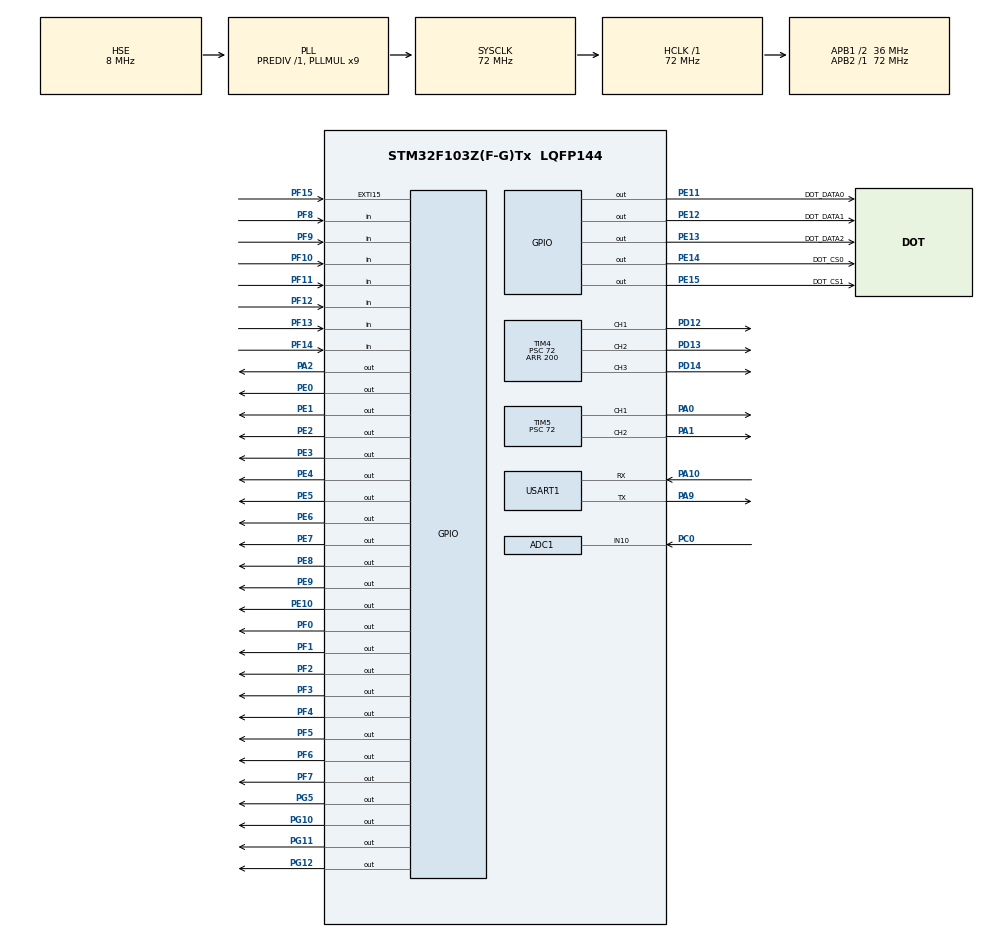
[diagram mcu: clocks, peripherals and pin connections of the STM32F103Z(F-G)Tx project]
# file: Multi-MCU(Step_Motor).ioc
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ADC1.Channel-0\#ChannelRegularConversion=ADC_CHANNEL_10
ADC1.NbrOfConversionFlag=1
ADC1.Rank-0\#ChannelRegularConversion=1
ADC1.SamplingTime-0\#ChannelRegularConversion=ADC_SAMPLETIME_1CYCLE_5
ADC1.master=1
Mcu.Family=STM32F1
Mcu.Name=STM32F103Z(F-G)Tx
Mcu.Package=LQFP144
NVIC.EXTI15_10_IRQn=true\:0\:0\:false\:false\:true\:true\:true
NVIC.PriorityGroup=NVIC_PRIORITYGROUP_4
NVIC.TIM3_IRQn=true\:0\:0\:false\:false\:true\:true\:true
NVIC.USART1_IRQn=true\:0\:0\:false\:false\:true\:true\:true
OSC_IN.Mode=HSE-External-Oscillator
OSC_IN.Signal=RCC_OSC_IN
OSC_OUT.Mode=HSE-External-Oscillator
OSC_OUT.Signal=RCC_OSC_OUT
PA0-WKUP.Signal=S_TIM5_CH1
PA1.Signal=S_TIM5_CH2
PA10.Mode=Asynchronous
PA10.Signal=USART1_RX
PA13.Mode=Serial_Wire
PA13.Signal=SYS_JTMS-SWDIO
PA14.Mode=Serial_Wire
PA14.Signal=SYS_JTCK-SWCLK
PA2.Signal=GPIO_Output
PA9.Mode=Asynchronous
PA9.Signal=USART1_TX
PC0.Signal=ADCx_IN10
PD12.Signal=S_TIM4_CH1
PD13.Signal=S_TIM4_CH2
PD14.Signal=S_TIM4_CH3
PE0.Signal=GPIO_Output
PE1.Signal=GPIO_Output
PE10.Signal=GPIO_Output
PE11.GPIO_Label=DOT_DATA0
PE11.Signal=GPIO_Output
PE12.GPIO_Label=DOT_DATA1
PE12.Signal=GPIO_Output
PE13.GPIO_Label=DOT_DATA2
PE13.Signal=GPIO_Output
PE14.GPIO_Label=DOT_CS0
PE14.Signal=GPIO_Output
PE15.GPIO_Label=DOT_CS1
PE15.Signal=GPIO_Output
PE2.Signal=GPIO_Output
PE3.Signal=GPIO_Output
PE4.Signal=GPIO_Output
PE5.Signal=GPIO_Output
PE6.Signal=GPIO_Output
PE7.Signal=GPIO_Output
PE8.Signal=GPIO_Output
PE9.Signal=GPIO_Output
PF0.Signal=GPIO_Output
PF1.Signal=GPIO_Output
PF10.Signal=GPIO_Input
PF11.Signal=GPIO_Input
PF12.Signal=GPIO_Input
PF13.Signal=GPIO_Input
PF14.Signal=GPIO_Input
PF15.GPIO_ModeDefaultEXTI=GPIO_MODE_IT_RISING
PF15.Signal=GPXTI15
PF2.Signal=GPIO_Output
PF3.Signal=GPIO_Output
PF4.Signal=GPIO_Output
PF5.Signal=GPIO_Output
PF6.Signal=GPIO_Output
PF7.Signal=GPIO_Output
PF8.Signal=GPIO_Input
PF9.Signal=GPIO_Input
PG10.Signal=GPIO_Output
PG11.Signal=GPIO_Output
PG12.Signal=GPIO_Output
PG5.Signal=GPIO_Output
ProjectManager.HeapSize=0x200
ProjectManager.StackSize=0x400
ProjectManager.TargetToolchain=MDK-ARM V5.27
RCC.ADCPresc=RCC_ADCPCLK2_DIV6
RCC.AHBFreq_Value=72000000
RCC.APB1CLKDivider=RCC_HCLK_DIV2
RCC.APB1Freq_Value=36000000
RCC.APB1TimFreq_Value=72000000
RCC.APB2Freq_Value=72000000
RCC.APB2TimFreq_Value=72000000
RCC.HCLKFreq_Value=72000000
RCC.PLLMUL=RCC_PLL_MUL9
RCC.PLLSourceVirtual=RCC_PLLSOURCE_HSE
RCC.SYSCLKFreq_VALUE=72000000
RCC.SYSCLKSource=RCC_SYSCLKSOURCE_PLLCLK
RCC.USBFreq_Value=72000000
SH.ADCx_IN10.0=ADC1_IN10,IN10
SH.S_TIM4_CH1.0=TIM4_CH1,PWM Generation1 CH1
SH.S_TIM4_CH2.0=TIM4_CH2,PWM Generation2 CH2
SH.S_TIM4_CH3.0=TIM4_CH3,PWM Generation3 CH3
SH.S_TIM5_CH1.0=TIM5_CH1,PWM Generation1 CH1
SH.S_TIM5_CH2.0=TIM5_CH2,PWM Generation2 CH2
TIM3.AutoReloadPreload=TIM_AUTORELOAD_PRELOAD_DISABLE
TIM3.Period=50000
TIM3.Prescaler=720
TIM4.Channel-PWM\ Generation1\ CH1=TIM_CHANNEL_1
TIM4.Channel-PWM\ Generation2\ CH2=TIM_CHANNEL_2
TIM4.Channel-PWM\ Generation3\ CH3=TIM_CHANNEL_3
TIM4.Period=200
TIM4.Prescaler=72
TIM5.Channel-PWM\ Generation1\ CH1=TIM_CHANNEL_1
TIM5.Channel-PWM\ Generation2\ CH2=TIM_CHANNEL_2
TIM5.Period=200
TIM5.Prescaler=72
USART1.VirtualMode=VM_ASYNC
VP_TIM3_VS_ClockSourceINT.Mode=Internal
board=custom

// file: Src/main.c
/* USER CODE BEGIN Header */
/**
  ******************************************************************************
  * @file           : main.c
  * @brief          : Main program body
  ******************************************************************************
  * @attention
  *
  * <h2><center>&copy; Copyright (c) 2021 STMicroelectronics.
  * All rights reserved.</center></h2>
  *
  * This software component is licensed by ST under BSD 3-Clause license,
  * the "License"; You may not use this file except in compliance with the
  * License. You may obtain a copy of the License at:
  *                        opensource.org/licenses/BSD-3-Clause
  *
  ******************************************************************************
  */
/* USER CODE END Header */
#include "main.h"

/* USER CODE BEGIN Includes */
#include <stdio.h>
#include "cmdline.h"
#include "cmd_func.h"
#include "Serial.h"
/* USER CODE END Includes */

ADC_HandleTypeDef hadc1;

TIM_HandleTypeDef htim3;
TIM_HandleTypeDef htim4;
TIM_HandleTypeDef htim5;

UART_HandleTypeDef huart1;

void SystemClock_Config(void);
static void MX_GPIO_Init(void);
static void MX_TIM3_Init(void);
static void MX_USART1_UART_Init(void);
static void MX_ADC1_Init(void);
static void MX_TIM4_Init(void);
static void MX_TIM5_Init(void);

int main(void)
{
  /* USER CODE BEGIN 1 */
	int nStatus;
  /* USER CODE END 1 */

  /* MCU Configuration--------------------------------------------------------*/

  /* Reset of all peripherals, Initializes the Flash interface and the Systick. */
  HAL_Init();

  /* Configure the system clock */
  SystemClock_Config();

  /* Initialize all configured peripherals */
  MX_GPIO_Init();
  MX_TIM3_Init();
  MX_USART1_UART_Init();
  MX_ADC1_Init();
  MX_TIM4_Init();
  MX_TIM5_Init();
  /* USER CODE BEGIN 2 */
	printf("\n\r UART Printf Example: retarget the C library printf function to the UART\n\r");
	printf("\n\r DATA : %s , LINE : %d\n\r",__DATE__,__LINE__);

	HAL_TIM_Base_Start_IT(&htim3);

  HAL_TIM_PWM_Start(&htim5, TIM_CHANNEL_1);
  HAL_TIMEx_PWMN_Start(&htim5, TIM_CHANNEL_1);
  __HAL_TIM_SET_COMPARE(&htim5, TIM_CHANNEL_1, 0);

  HAL_TIM_PWM_Start(&htim5, TIM_CHANNEL_2);
  HAL_TIMEx_PWMN_Start(&htim5, TIM_CHANNEL_2);
  __HAL_TIM_SET_COMPARE(&htim5, TIM_CHANNEL_2, 0);

	// DC Motor Direction
	HAL_GPIO_WritePin(GPIOG, GPIO_PIN_10, GPIO_PIN_RESET);

	// Servo Motor Direction

	// Step Motor Direction
  HAL_GPIO_WritePin(GPIOG, GPIO_PIN_12, GPIO_PIN_SET);
	HAL_GPIO_WritePin(GPIOG, GPIO_PIN_11, GPIO_PIN_SET);

  /* USER CODE END 2 */

  /* Infinite loop */
  /* USER CODE BEGIN WHILE */
  while (1)
  {
        printf("cmd> ");

        //
        // Get a line of text from the user.
        //
        UARTgets(g_pcCmdBuf, sizeof(g_pcCmdBuf));

        //
        // Pass the line from the user to the command processor.  It will be
        // parsed and valid commands executed.
        //
        nStatus = CmdLineProcess(g_pcCmdBuf);

        //
        // Handle the case of bad command.
        //
        if(nStatus == CMDLINE_BAD_CMD)
        {
            printf("Bad command!\n\r");
        }

        //
        // Handle the case of too many arguments.
        //
        else if(nStatus == CMDLINE_TOO_MANY_ARGS)
        {
            printf("Too many arguments for command processor!\n\r");
        }

        //
        // Otherwise the command was executed.  Print the error code if one was
        // returned.
        //
        else if(nStatus != 0)
        {
            //printf("Command returned error code \n");
        }

		/* USER CODE END WHILE */

  }
}

void SystemClock_Config(void)
{
  RCC_OscInitTypeDef RCC_OscInitStruct = {0};
  RCC_ClkInitTypeDef RCC_ClkInitStruct = {0};
  RCC_PeriphCLKInitTypeDef PeriphClkInit = {0};

  /** Initializes the RCC Oscillators according to the specified parameters
  * in the RCC_OscInitTypeDef structure.
  */
  RCC_OscInitStruct.OscillatorType = RCC_OSCILLATORTYPE_HSE;
  RCC_OscInitStruct.HSEState = RCC_HSE_ON;
  RCC_OscInitStruct.HSEPredivValue = RCC_HSE_PREDIV_DIV1;
  RCC_OscInitStruct.HSIState = RCC_HSI_ON;
  RCC_OscInitStruct.PLL.PLLState = RCC_PLL_ON;
  RCC_OscInitStruct.PLL.PLLSource = RCC_PLLSOURCE_HSE;
  RCC_OscInitStruct.PLL.PLLMUL = RCC_PLL_MUL9;
  if (HAL_RCC_OscConfig(&RCC_OscInitStruct) != HAL_OK)
  {
    Error_Handler();
  }
  /** Initializes the CPU, AHB and APB buses clocks
  */
  RCC_ClkInitStruct.ClockType = RCC_CLOCKTYPE_HCLK|RCC_CLOCKTYPE_SYSCLK
                              |RCC_CLOCKTYPE_PCLK1|RCC_CLOCKTYPE_PCLK2;
  RCC_ClkInitStruct.SYSCLKSource = RCC_SYSCLKSOURCE_PLLCLK;
  RCC_ClkInitStruct.AHBCLKDivider = RCC_SYSCLK_DIV1;
  RCC_ClkInitStruct.APB1CLKDivider = RCC_HCLK_DIV2;
  RCC_ClkInitStruct.APB2CLKDivider = RCC_HCLK_DIV1;

  if (HAL_RCC_ClockConfig(&RCC_ClkInitStruct, FLASH_LATENCY_2) != HAL_OK)
  {
    Error_Handler();
  }
  PeriphClkInit.PeriphClockSelection = RCC_PERIPHCLK_ADC;
  PeriphClkInit.AdcClockSelection = RCC_ADCPCLK2_DIV6;
  if (HAL_RCCEx_PeriphCLKConfig(&PeriphClkInit) != HAL_OK)
  {
    Error_Handler();
  }
}

static void MX_ADC1_Init(void)
{

  ADC_ChannelConfTypeDef sConfig = {0};

  /** Common config
  */
  hadc1.Instance = ADC1;
  hadc1.Init.ScanConvMode = ADC_SCAN_DISABLE;
  hadc1.Init.ContinuousConvMode = DISABLE;
  hadc1.Init.DiscontinuousConvMode = DISABLE;
  hadc1.Init.ExternalTrigConv = ADC_SOFTWARE_START;
  hadc1.Init.DataAlign = ADC_DATAALIGN_RIGHT;
  hadc1.Init.NbrOfConversion = 1;
  if (HAL_ADC_Init(&hadc1) != HAL_OK)
  {
    Error_Handler();
  }
  /** Configure Regular Channel
  */
  sConfig.Channel = ADC_CHANNEL_10;
  sConfig.Rank = ADC_REGULAR_RANK_1;
  sConfig.SamplingTime = ADC_SAMPLETIME_1CYCLE_5;
  if (HAL_ADC_ConfigChannel(&hadc1, &sConfig) != HAL_OK)
  {
    Error_Handler();
  }

}

static void MX_TIM3_Init(void)
{

  TIM_ClockConfigTypeDef sClockSourceConfig = {0};
  TIM_MasterConfigTypeDef sMasterConfig = {0};

  htim3.Instance = TIM3;
  htim3.Init.Prescaler = 720;
  htim3.Init.CounterMode = TIM_COUNTERMODE_UP;
  htim3.Init.Period = 50000;
  htim3.Init.ClockDivision = TIM_CLOCKDIVISION_DIV1;
  htim3.Init.AutoReloadPreload = TIM_AUTORELOAD_PRELOAD_DISABLE;
  if (HAL_TIM_Base_Init(&htim3) != HAL_OK)
  {
    Error_Handler();
  }
  sClockSourceConfig.ClockSource = TIM_CLOCKSOURCE_INTERNAL;
  if (HAL_TIM_ConfigClockSource(&htim3, &sClockSourceConfig) != HAL_OK)
  {
    Error_Handler();
  }
  sMasterConfig.MasterOutputTrigger = TIM_TRGO_RESET;
  sMasterConfig.MasterSlaveMode = TIM_MASTERSLAVEMODE_DISABLE;
  if (HAL_TIMEx_MasterConfigSynchronization(&htim3, &sMasterConfig) != HAL_OK)
  {
    Error_Handler();
  }

}

static void MX_TIM4_Init(void)
{

  TIM_MasterConfigTypeDef sMasterConfig = {0};
  TIM_OC_InitTypeDef sConfigOC = {0};

  htim4.Instance = TIM4;
  htim4.Init.Prescaler = 72;
  htim4.Init.CounterMode = TIM_COUNTERMODE_UP;
  htim4.Init.Period = 200;
  htim4.Init.ClockDivision = TIM_CLOCKDIVISION_DIV1;
  htim4.Init.AutoReloadPreload = TIM_AUTORELOAD_PRELOAD_DISABLE;
  if (HAL_TIM_PWM_Init(&htim4) != HAL_OK)
  {
    Error_Handler();
  }
  sMasterConfig.MasterOutputTrigger = TIM_TRGO_RESET;
  sMasterConfig.MasterSlaveMode = TIM_MASTERSLAVEMODE_DISABLE;
  if (HAL_TIMEx_MasterConfigSynchronization(&htim4, &sMasterConfig) != HAL_OK)
  {
    Error_Handler();
  }
  sConfigOC.OCMode = TIM_OCMODE_PWM1;
  sConfigOC.Pulse = 0;
  sConfigOC.OCPolarity = TIM_OCPOLARITY_HIGH;
  sConfigOC.OCFastMode = TIM_OCFAST_DISABLE;
  if (HAL_TIM_PWM_ConfigChannel(&htim4, &sConfigOC, TIM_CHANNEL_1) != HAL_OK)
  {
    Error_Handler();
  }
  if (HAL_TIM_PWM_ConfigChannel(&htim4, &sConfigOC, TIM_CHANNEL_2) != HAL_OK)
  {
    Error_Handler();
  }
  if (HAL_TIM_PWM_ConfigChannel(&htim4, &sConfigOC, TIM_CHANNEL_3) != HAL_OK)
  {
    Error_Handler();
  }
  HAL_TIM_MspPostInit(&htim4);

}

static void MX_TIM5_Init(void)
{

  TIM_MasterConfigTypeDef sMasterConfig = {0};
  TIM_OC_InitTypeDef sConfigOC = {0};

  htim5.Instance = TIM5;
  htim5.Init.Prescaler = 72;
  htim5.Init.CounterMode = TIM_COUNTERMODE_UP;
  htim5.Init.Period = 200;
  htim5.Init.ClockDivision = TIM_CLOCKDIVISION_DIV1;
  htim5.Init.AutoReloadPreload = TIM_AUTORELOAD_PRELOAD_DISABLE;
  if (HAL_TIM_PWM_Init(&htim5) != HAL_OK)
  {
    Error_Handler();
  }
  sMasterConfig.MasterOutputTrigger = TIM_TRGO_RESET;
  sMasterConfig.MasterSlaveMode = TIM_MASTERSLAVEMODE_DISABLE;
  if (HAL_TIMEx_MasterConfigSynchronization(&htim5, &sMasterConfig) != HAL_OK)
  {
    Error_Handler();
  }
  sConfigOC.OCMode = TIM_OCMODE_PWM1;
  sConfigOC.Pulse = 0;
  sConfigOC.OCPolarity = TIM_OCPOLARITY_HIGH;
  sConfigOC.OCFastMode = TIM_OCFAST_DISABLE;
  if (HAL_TIM_PWM_ConfigChannel(&htim5, &sConfigOC, TIM_CHANNEL_1) != HAL_OK)
  {
    Error_Handler();
  }
  if (HAL_TIM_PWM_ConfigChannel(&htim5, &sConfigOC, TIM_CHANNEL_2) != HAL_OK)
  {
    Error_Handler();
  }
  HAL_TIM_MspPostInit(&htim5);

}

static void MX_USART1_UART_Init(void)
{

  huart1.Instance = USART1;
  huart1.Init.BaudRate = 115200;
  huart1.Init.WordLength = UART_WORDLENGTH_8B;
  huart1.Init.StopBits = UART_STOPBITS_1;
  huart1.Init.Parity = UART_PARITY_NONE;
  huart1.Init.Mode = UART_MODE_TX_RX;
  huart1.Init.HwFlowCtl = UART_HWCONTROL_NONE;
  huart1.Init.OverSampling = UART_OVERSAMPLING_16;
  if (HAL_UART_Init(&huart1) != HAL_OK)
  {
    Error_Handler();
  }

}

static void MX_GPIO_Init(void)
{
  GPIO_InitTypeDef GPIO_InitStruct = {0};

  /* GPIO Ports Clock Enable */
  __HAL_RCC_GPIOE_CLK_ENABLE();
  __HAL_RCC_GPIOF_CLK_ENABLE();
  __HAL_RCC_GPIOC_CLK_ENABLE();
  __HAL_RCC_GPIOA_CLK_ENABLE();
  __HAL_RCC_GPIOD_CLK_ENABLE();
  __HAL_RCC_GPIOG_CLK_ENABLE();

  /*Configure GPIO pin Output Level */
  HAL_GPIO_WritePin(GPIOE, GPIO_PIN_2|GPIO_PIN_3|GPIO_PIN_4|GPIO_PIN_5
                          |GPIO_PIN_6|GPIO_PIN_7|GPIO_PIN_8|GPIO_PIN_9
                          |GPIO_PIN_10|DOT_DATA0_Pin|DOT_DATA1_Pin|DOT_DATA2_Pin
                          |DOT_CS0_Pin|DOT_CS1_Pin|GPIO_PIN_0|GPIO_PIN_1, GPIO_PIN_RESET);

  /*Configure GPIO pin Output Level */
  HAL_GPIO_WritePin(GPIOF, GPIO_PIN_0|GPIO_PIN_1|GPIO_PIN_2|GPIO_PIN_3
                          |GPIO_PIN_4|GPIO_PIN_5|GPIO_PIN_6|GPIO_PIN_7, GPIO_PIN_RESET);

  /*Configure GPIO pin Output Level */
  HAL_GPIO_WritePin(GPIOA, GPIO_PIN_2, GPIO_PIN_RESET);

  /*Configure GPIO pin Output Level */
  HAL_GPIO_WritePin(GPIOG, GPIO_PIN_5|GPIO_PIN_10|GPIO_PIN_11|GPIO_PIN_12, GPIO_PIN_RESET);

  /*Configure GPIO pins : PE2 PE3 PE4 PE5
                           PE6 PE7 PE8 PE9
                           PE10 DOT_DATA0_Pin DOT_DATA1_Pin DOT_DATA2_Pin
                           DOT_CS0_Pin DOT_CS1_Pin PE0 PE1 */
  GPIO_InitStruct.Pin = GPIO_PIN_2|GPIO_PIN_3|GPIO_PIN_4|GPIO_PIN_5
                          |GPIO_PIN_6|GPIO_PIN_7|GPIO_PIN_8|GPIO_PIN_9
                          |GPIO_PIN_10|DOT_DATA0_Pin|DOT_DATA1_Pin|DOT_DATA2_Pin
                          |DOT_CS0_Pin|DOT_CS1_Pin|GPIO_PIN_0|GPIO_PIN_1;
  GPIO_InitStruct.Mode = GPIO_MODE_OUTPUT_PP;
  GPIO_InitStruct.Pull = GPIO_NOPULL;
  GPIO_InitStruct.Speed = GPIO_SPEED_FREQ_LOW;
  HAL_GPIO_Init(GPIOE, &GPIO_InitStruct);

  /*Configure GPIO pins : PF0 PF1 PF2 PF3
                           PF4 PF5 PF6 PF7 */
  GPIO_InitStruct.Pin = GPIO_PIN_0|GPIO_PIN_1|GPIO_PIN_2|GPIO_PIN_3
                          |GPIO_PIN_4|GPIO_PIN_5|GPIO_PIN_6|GPIO_PIN_7;
  GPIO_InitStruct.Mode = GPIO_MODE_OUTPUT_PP;
  GPIO_InitStruct.Pull = GPIO_NOPULL;
  GPIO_InitStruct.Speed = GPIO_SPEED_FREQ_LOW;
  HAL_GPIO_Init(GPIOF, &GPIO_InitStruct);

  /*Configure GPIO pins : PF8 PF9 PF10 PF11
                           PF12 PF13 PF14 */
  GPIO_InitStruct.Pin = GPIO_PIN_8|GPIO_PIN_9|GPIO_PIN_10|GPIO_PIN_11
                          |GPIO_PIN_12|GPIO_PIN_13|GPIO_PIN_14;
  GPIO_InitStruct.Mode = GPIO_MODE_INPUT;
  GPIO_InitStruct.Pull = GPIO_NOPULL;
  HAL_GPIO_Init(GPIOF, &GPIO_InitStruct);

  /*Configure GPIO pin : PA2 */
  GPIO_InitStruct.Pin = GPIO_PIN_2;
  GPIO_InitStruct.Mode = GPIO_MODE_OUTPUT_PP;
  GPIO_InitStruct.Pull = GPIO_NOPULL;
  GPIO_InitStruct.Speed = GPIO_SPEED_FREQ_LOW;
  HAL_GPIO_Init(GPIOA, &GPIO_InitStruct);

  /*Configure GPIO pin : PF15 */
  GPIO_InitStruct.Pin = GPIO_PIN_15;
  GPIO_InitStruct.Mode = GPIO_MODE_IT_RISING;
  GPIO_InitStruct.Pull = GPIO_NOPULL;
  HAL_GPIO_Init(GPIOF, &GPIO_InitStruct);

  /*Configure GPIO pins : PG5 PG10 PG11 PG12 */
  GPIO_InitStruct.Pin = GPIO_PIN_5|GPIO_PIN_10|GPIO_PIN_11|GPIO_PIN_12;
  GPIO_InitStruct.Mode = GPIO_MODE_OUTPUT_PP;
  GPIO_InitStruct.Pull = GPIO_NOPULL;
  GPIO_InitStruct.Speed = GPIO_SPEED_FREQ_LOW;
  HAL_GPIO_Init(GPIOG, &GPIO_InitStruct);

  /* EXTI interrupt init*/
  HAL_NVIC_SetPriority(EXTI15_10_IRQn, 0, 0);
  HAL_NVIC_EnableIRQ(EXTI15_10_IRQn);

}

/* USER CODE BEGIN 4 */
void HAL_TIM_PeriodElapsedCallback(TIM_HandleTypeDef *htim)
{
    if(htim->Instance == TIM3)
    {
          HAL_GPIO_TogglePin(GPIOF, GPIO_PIN_1);
			    //printf("\n\r LINE : %d  Timer Interrupt!!!\n\r",__LINE__);
    }
}

void HAL_GPIO_EXTI_Callback(uint16_t GPIO_Pin)
{
  if(GPIO_Pin == GPIO_PIN_15)
  {
         HAL_GPIO_TogglePin(GPIOF, GPIO_PIN_2);
		     //printf("\n\r LINE : %d  Ext Intterupt!!!\n\r",__LINE__);
  }

}
/* USER CODE END 4 */

void Error_Handler(void)
{
  __disable_irq();
  while (1)
  {
  }
}

/************************ (C) COPYRIGHT STMicroelectronics *****END OF FILE****/
